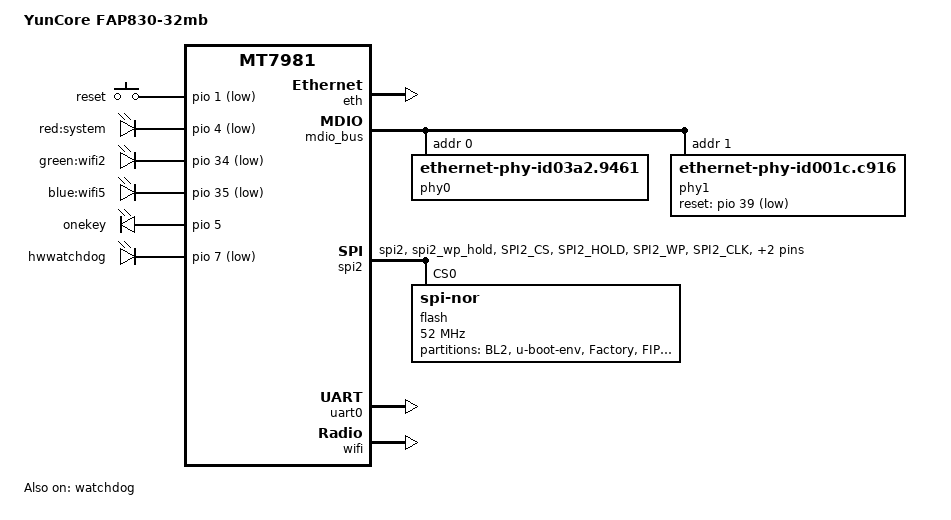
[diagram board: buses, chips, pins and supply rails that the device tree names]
// SPDX-License-Identifier: (GPL-2.0 OR MIT)

/dts-v1/;

#include <dt-bindings/pinctrl/mt65xx.h>

#include "mt7981b.dtsi"

/ {
	compatible = "yuncore,fap830-32mb", "mediatek,mt7981";
	model = "YunCore FAP830-32mb";

	aliases {
		label-mac-device = &gmac0;
		serial0 = &uart0;
	};

	chosen {
		stdout-path = "serial0:115200n8";
	};

	gpio-keys {
		compatible = "gpio-keys";

		reset {
			label = "reset";
			linux,code = <KEY_RESTART>;
			gpios = <&pio 1 GPIO_ACTIVE_LOW>;
		};
	};

	leds {
		compatible = "gpio-leds";

		led_system: led_system {
			label = "red:system";
			gpios = <&pio 4 GPIO_ACTIVE_LOW>;
		};

		led_wifi24 {
			label = "green:wifi2";
			gpios = <&pio 34 GPIO_ACTIVE_LOW>;
			linux,default-trigger = "phy0tpt";
		};

		led_wifi5 {
			label = "blue:wifi5";
			gpios = <&pio 35 GPIO_ACTIVE_LOW>;
			linux,default-trigger = "phy1tpt";
		};

		led_onekey {
			label = "onekey";
			gpios = <&pio 5 GPIO_ACTIVE_HIGH>;
		};

		led_hwwatchdog {
			label = "hwwatchdog";
			gpios = <&pio 7 GPIO_ACTIVE_LOW>;
			linux,default-trigger = "timer";
			led-pattern = <1000>, <1000>;
		};
	};
};

&eth {
	pinctrl-names = "default";
	pinctrl-0 = <&mdio_pins>;
	status = "okay";

	gmac0: mac@0 {
		compatible = "mediatek,eth-mac";
		reg = <0>;
		phy-mode = "sgmii";
		phy-handle = <&phy1>;
		managed = "in-band-status";
		label = "wan";

		nvmem-cell-names = "mac-address";
		nvmem-cells = <&macaddr_factory_2a 0>;
	};

	gmac1: mac@1 {
		compatible = "mediatek,eth-mac";
		reg = <1>;
		phy-mode = "gmii";
		phy-handle = <&phy0>;
		label = "lan";

		nvmem-cell-names = "mac-address";
		nvmem-cells = <&macaddr_factory_2a 1>;
	};
};

&mdio_bus {
	phy0: ethernet-phy@0 {
		compatible = "ethernet-phy-id03a2.9461";
		reg = <0>;
		phy-mode = "gmii";
		nvmem-cells = <&eeprom_factory>;
		nvmem-cell-names = "phy-cal-data";
	};

	phy1: ethernet-phy@1 {
		compatible = "ethernet-phy-id001c.c916";
		reg = <1>;
		phy-mode = "sgmii";
		reset-gpios = <&pio 39 GPIO_ACTIVE_LOW>;
	};
};

&pio {
	spi2_flash_pins: spi2-pins {
		mux {
			function = "spi";
			groups = "spi2", "spi2_wp_hold";
		};

		conf-pu {
			pins = "SPI2_CS", "SPI2_HOLD", "SPI2_WP";
			drive-strength = <MTK_DRIVE_8mA>;
			bias-pull-up = <MTK_PUPD_SET_R1R0_11>;
		};

		conf-pd {
			pins = "SPI2_CLK", "SPI2_MOSI", "SPI2_MISO";
			drive-strength = <MTK_DRIVE_8mA>;
			bias-pull-down = <MTK_PUPD_SET_R1R0_11>;
		};
	};
};

&spi2 {
	pinctrl-names = "default";
	pinctrl-0 = <&spi2_flash_pins>;
	status = "okay";

	flash@0 {
		compatible = "jedec,spi-nor";
		reg = <0>;

		spi-max-frequency = <52000000>;
		spi-tx-bus-width = <4>;
		spi-rx-bus-width = <4>;

		partitions {
			compatible = "fixed-partitions";
			#address-cells = <1>;
			#size-cells = <1>;

			partition@0 {
				label = "BL2";
				reg = <0x00000 0x40000>;
				read-only;
			};

			partition@40000 {
				label = "u-boot-env";
				reg = <0x40000 0x10000>;
				read-only;
			};

			factory: partition@50000 {
				label = "Factory";
				reg = <0x50000 0x20000>;
				read-only;

				nvmem-layout {
					compatible = "fixed-layout";
					#address-cells = <1>;
					#size-cells = <1>;

					eeprom_factory: eeprom@0 {
						reg = <0x0 0x1000>;
					};

					macaddr_factory_2a: macaddr@2a {
						compatible = "mac-base";
						reg = <0x2a 0x6>;
						#nvmem-cell-cells = <1>;
					};
				};
			};

			partition@70000 {
				label = "FIP";
				reg = <0x70000 0x80000>;
				read-only;
			};

			partition@f0000 {
				compatible = "denx,fit";
				label = "firmware";
				reg = <0xf0000 0x1f10000>;
			};
		};
	};
};

&uart0 {
	status = "okay";
};

&watchdog {
	status = "okay";
};

&wifi {
	status = "okay";
	nvmem-cells = <&eeprom_factory 0>;
	nvmem-cell-names = "eeprom";
};
